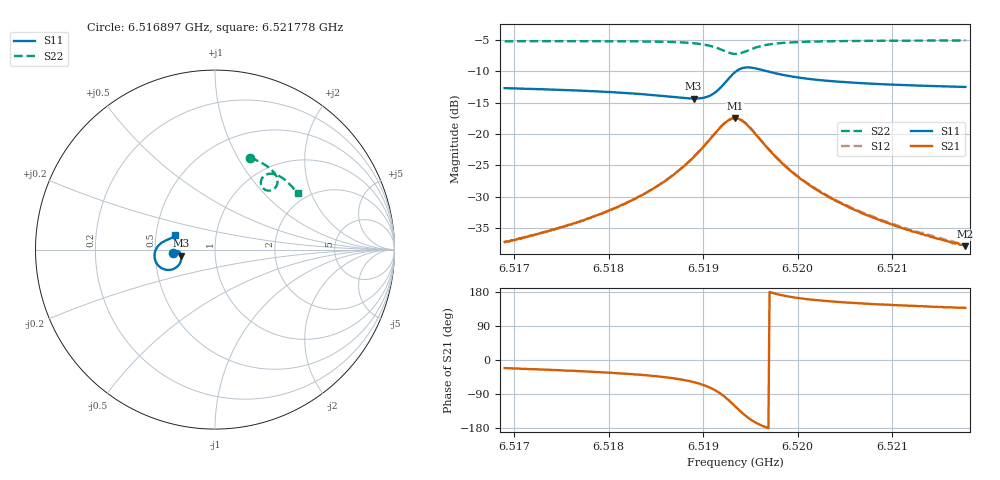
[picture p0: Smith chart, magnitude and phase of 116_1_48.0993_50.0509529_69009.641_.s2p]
#  HZ  S  RI  R  50.00
! Rohde & Schwarz Vector Network Analyzer
! Rohde-Schwarz,ZNB20-2Port,1311601062101988,3.16
! Created: UTC 12/23/2023, 3:46:16 AM
! freq[Hz]  re:S11  im:S11  re:S21  im:S21  re:S12  im:S12  re:S22  im:S22
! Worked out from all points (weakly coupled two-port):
!   401 points, 6.516897 GHz to 6.521778 GHz, reference 50 ohm
!   highest |S21| = -17.48 dB at 6.519338 GHz (marker M1); lowest = -37.8 dB at 6.521778 GHz (marker M2)
!   lowest |S11| = -14.4 dB at 6.518898 GHz (marker M3), VSWR 1.47, Z = 34.1 - j2.37 ohm
!   |S11| at or under -10 dB: start of sweep to 6.51935 GHz; 6.519679 GHz to end of sweep
!   |S22| runs from -7.2 to -5.1 dB; largest |S21 - S12| = 0.0041
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6.5168973e9  -0.2312 -0.0192  0.0129 -0.00504  0.013 -0.00464  0.196 0.5119
6.5172511e9  -0.2275 -0.0137  0.0146 -0.00674  0.0147 -0.00619  0.2222 0.5015
6.5177148e9  -0.2213 -0.00804  0.0177 -0.0102  0.0181 -0.0096  0.2566 0.485
6.5181541e9  -0.213 -0.00555  0.0223 -0.0161  0.0229 -0.0154  0.2895 0.4649
6.5185324e9  -0.2021 -0.00974  0.0285 -0.027  0.0294 -0.0263  0.3186 0.441
6.5187033e9  -0.1958 -0.0164  0.0319 -0.0366  0.0332 -0.0357  0.3319 0.4256
6.5188985e9  -0.1887 -0.0335  0.0343 -0.0554  0.0364 -0.0548  0.3452 0.4007
6.5190083e9  -0.1879 -0.0513  0.0321 -0.0732  0.0345 -0.0727  0.3485 0.3804
6.5191059e9  -0.1949 -0.0748  0.0218 -0.0946  0.025 -0.0946  0.3441 0.3579
6.5192402e9  -0.2364 -0.1098  -0.0205 -0.1224  -0.0169 -0.124  0.3125 0.33
6.519289e9  -0.2633 -0.1133  -0.0454 -0.123  -0.042 -0.1253  0.2931 0.3288
6.5193378e9  -0.2923 -0.1062  -0.0704 -0.1136  -0.0677 -0.1165  0.2742 0.3369
6.5193866e9  -0.3165 -0.0882  -0.0901 -0.0953  -0.088 -0.0986  0.2608 0.3522
6.5194476e9  -0.3337 -0.0577  -0.102 -0.0669  -0.1009 -0.0704  0.2555 0.3756
6.5195574e9  -0.3331 -0.00878  -0.0962 -0.0251  -0.0963 -0.0282  0.2698 0.4074
6.5196673e9  -0.3173 0.0199  -0.0795 -0.0033  -0.0801 -0.0057  0.2923 0.4206
6.5198991e9  -0.2872 0.0443  -0.0519 0.0112  -0.0528 0.00985  0.3309 0.4208
6.5201554e9  -0.2675 0.0538  -0.0355 0.0136  -0.0363 0.0127  0.3596 0.4091
6.5205581e9  -0.2499 0.0615  -0.0227 0.0125  -0.0234 0.012  0.3921 0.3865
6.520973e9  -0.2387 0.0677  -0.0161 0.011  -0.0165 0.0107  0.4182 0.362
6.5215953e9  -0.2267 0.0762  -0.0105 0.00916  -0.011 0.00905  0.4514 0.3242
6.5217783e9  -0.2238 0.0788  -0.00949 0.00862  -0.0101 0.00871  0.4599 0.3128
